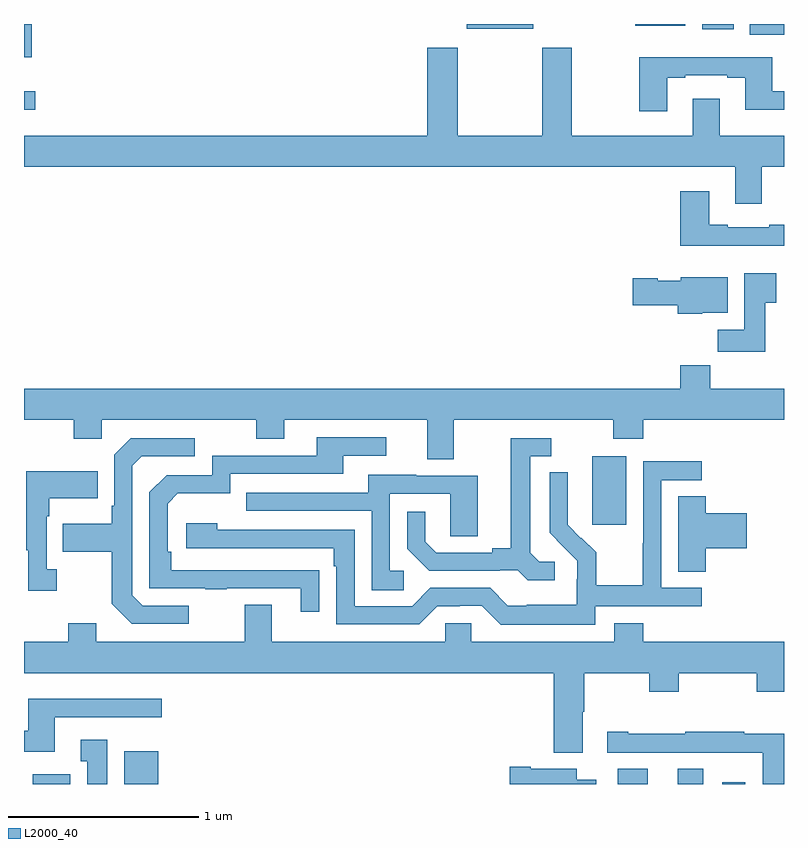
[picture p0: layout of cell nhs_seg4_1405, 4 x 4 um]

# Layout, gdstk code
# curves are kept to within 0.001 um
import gdstk
lib = gdstk.Library(unit=1e-6, precision=1e-09)
def R(c, l, rs):  # rectangles x0, y0, x1, y1
    for r in rs: c.add(gdstk.rectangle(r[:2], r[2:], *l))
def P(c, l, *ps):  # polygons
    for p in ps: c.add(gdstk.Polygon(p, *l))
L2000_40 = (2000, 40)

nhs_seg4_1405 = lib.new_cell('nhs_seg4_1405')
R(nhs_seg4_1405, L2000_40, [(183.047,798.9,183.244,798.952), (183.527,798.9,183.706,799.072), (186.125,798.9,186.283,798.98), (186.44,798.9,186.574,798.98), (186.674,798.9,186.796,798.91), (185.99,800.265,186.169,800.626), (183,802.448,183.058,802.545), (183,802.724,183.04,802.9), (186.821,802.844,187,802.9), (186.569,802.872,186.736,802.9), (185.33,802.874,185.68,802.9), (186.218,802.892,186.481,802.9)])
P(nhs_seg4_1405, L2000_40, [(186.883,802.148),(187,802.148),(187,802.312),(186.661,802.312),(186.661,802.507),(186.521,802.507),(186.521,802.312),(185.883,802.312),(185.883,802.774),(185.728,802.774),(185.728,802.312),(185.283,802.312),(185.283,802.774),(185.123,802.774),(185.123,802.312),(183,802.312),(183,802.148),(186.743,802.148),(186.743,801.954),(186.883,801.954)],
  [(186.385,802.617),(186.481,802.617),(186.481,802.629),(186.701,802.629),(186.701,802.617),(186.797,802.617),(186.797,802.448),(187,802.448),(187,802.545),(186.937,802.545),(186.937,802.726),(186.238,802.726),(186.238,802.44),(186.385,802.44)],
  [(187,801.844),(186.923,801.844),(186.923,801.831),(186.703,801.831),(186.703,801.844),(186.607,801.844),(186.607,802.021),(186.455,802.021),(186.455,801.734),(187,801.734)],
  [(186.901,801.433),(186.958,801.433),(186.958,801.589),(186.791,801.589),(186.791,801.292),(186.652,801.292),(186.652,801.174),(186.901,801.174)],
  [(186.57,801.38),(186.703,801.38),(186.703,801.568),(186.456,801.568),(186.456,801.55),(186.336,801.55),(186.336,801.563),(186.204,801.563),(186.204,801.421),(186.44,801.421),(186.44,801.374),(186.57,801.374)],
  [(185.263,800.816),(186.1,800.816),(186.1,800.717),(186.26,800.717),(186.26,800.816),(187,800.816),(187,800.98),(186.611,800.98),(186.611,801.104),(186.455,801.104),(186.455,800.98),(183,800.98),(183,800.816),(183.262,800.816),(183.262,800.717),(183.408,800.717),(183.408,800.816),(184.222,800.816),(184.222,800.717),(184.369,800.717),(184.369,800.816),(185.123,800.816),(185.123,800.608),(185.263,800.608)],
  [(184.553,800.024),(183.776,800.025),(183.776,800.122),(183.756,800.122),(183.756,800.376),(183.809,800.429),(184.086,800.429),(184.086,800.532),(184.681,800.532),(184.681,800.628),(184.906,800.628),(184.906,800.724),(184.541,800.724),(184.541,800.628),(183.99,800.628),(183.99,800.526),(183.75,800.526),(183.66,800.436),(183.66,799.929),(183.955,799.929),(183.955,799.924),(184.067,799.924),(184.067,799.929),(184.457,799.929),(184.457,799.806),(184.553,799.806)],
  [(183.868,799.839),(183.624,799.839),(183.57,799.893),(183.57,800.574),(183.621,800.625),(183.898,800.625),(183.898,800.721),(183.561,800.721),(183.474,800.634),(183.474,800.365),(183.462,800.365),(183.462,800.269),(183.205,800.269),(183.205,800.122),(183.462,800.122),(183.462,799.849),(183.567,799.743),(183.868,799.743)],
  [(185.794,800.07),(185.712,800.07),(185.665,800.117),(185.665,800.625),(185.776,800.625),(185.776,800.721),(185.561,800.721),(185.561,800.141),(185.465,800.141),(185.465,800.118),(185.17,800.118),(185.113,800.175),(185.113,800.332),(185.016,800.332),(185.016,800.138),(185.132,800.022),(185.504,800.022),(185.504,800.025),(185.598,800.025),(185.65,799.973),(185.794,799.973)],
  [(186.006,799.836),(186.568,799.836),(186.568,799.932),(186.354,799.932),(186.354,800.499),(186.568,800.499),(186.568,800.598),(186.258,800.598),(186.258,800.168),(186.256,800.168),(186.256,799.945),(186.011,799.945),(186.011,800.119),(185.934,800.196),(185.931,800.193),(185.861,800.264),(185.862,800.54),(185.766,800.54),(185.766,800.222),(185.912,800.074),(185.912,799.977),(185.91,799.977),(185.91,799.843),(185.647,799.843),(185.647,799.839),(185.547,799.839),(185.454,799.932),(185.139,799.932),(185.043,799.836),(184.74,799.836),(184.74,800.238),(184.016,800.238),(184.016,800.272),(183.855,800.272),(183.855,800.142),(184.631,800.142),(184.631,800.045),(184.644,800.045),(184.644,799.74),(185.079,799.74),(185.175,799.836),(185.294,799.836),(185.294,799.839),(185.409,799.839),(185.509,799.739),(186.006,799.739)],
  [(183.172,800.03),(183.12,800.03),(183.12,800.309),(183.133,800.309),(183.133,800.405),(183.389,800.405),(183.389,800.545),(183.012,800.545),(183.012,800.129),(183.023,800.129),(183.023,799.917),(183.172,799.917)],
  [(184.999,800.022),(184.926,800.022),(184.926,800.427),(185.244,800.427),(185.244,800.203),(185.389,800.203),(185.389,800.523),(185.065,800.523),(185.065,800.527),(184.811,800.527),(184.811,800.433),(184.171,800.433),(184.171,800.337),(184.83,800.337),(184.83,799.921),(184.999,799.921)],
  [(186.587,800.141),(186.805,800.141),(186.805,800.324),(186.587,800.324),(186.587,800.414),(186.443,800.414),(186.443,800.017),(186.587,800.017)],
  [(185.941,799.28),(185.949,799.28),(185.949,799.484),(186.292,799.484),(186.292,799.385),(186.447,799.385),(186.447,799.484),(186.856,799.484),(186.856,799.385),(187,799.385),(187,799.648),(186.26,799.648),(186.26,799.747),(186.107,799.747),(186.107,799.648),(185.355,799.648),(185.355,799.746),(185.217,799.746),(185.217,799.648),(184.303,799.648),(184.303,799.843),(184.163,799.843),(184.163,799.648),(183.379,799.648),(183.379,799.747),(183.232,799.747),(183.232,799.648),(183,799.648),(183,799.484),(185.789,799.484),(185.789,799.064),(185.941,799.064)],
  [(183.163,799.251),(183.724,799.251),(183.724,799.348),(183.023,799.348),(183.023,799.18),(183,799.18),(183,799.07),(183.163,799.07)],
  [(187,799.164),(186.791,799.164),(186.791,799.174),(186.481,799.174),(186.481,799.164),(186.181,799.164),(186.181,799.174),(186.069,799.174),(186.069,799.065),(186.678,799.065),(186.678,799.064),(186.888,799.064),(186.888,798.9),(187,798.9)],
  [(183.439,799.132),(183.299,799.132),(183.299,799.019),(183.332,799.019),(183.332,798.9),(183.439,798.9)],
  [(186.013,798.922),(185.908,798.922),(185.908,798.979),(185.668,798.979),(185.668,798.992),(185.556,798.992),(185.556,798.9),(186.013,798.9)])

lib.write_gds('nhs_seg4_1405.gds')
